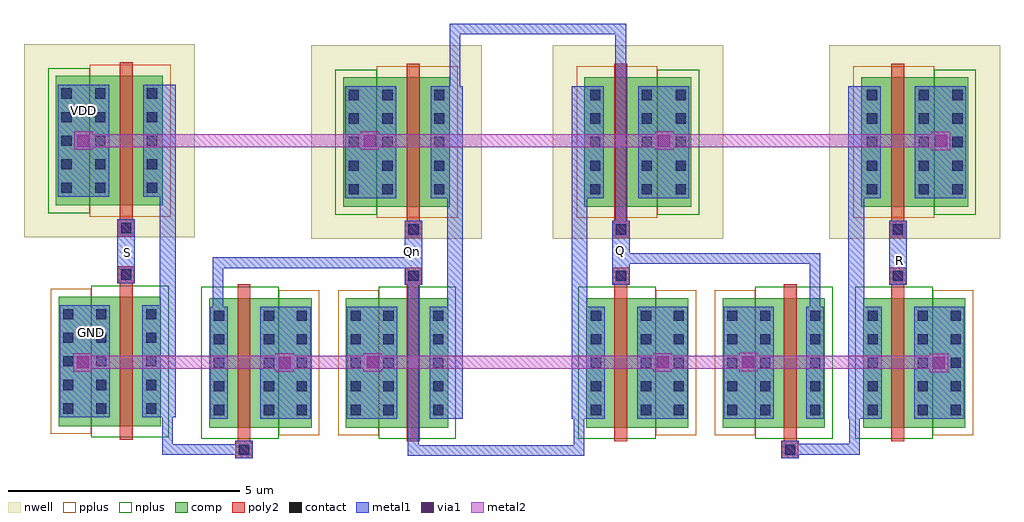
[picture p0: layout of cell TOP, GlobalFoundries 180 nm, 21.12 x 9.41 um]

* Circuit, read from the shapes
.subckt TOP GND Q Qn R S VDD
XM1 n1 S GND GND nfet_03v3 w=2.8u l=0.28u
XM2 GND n1 Qn GND nfet_03v3 w=2.8u l=0.28u
XM3 Q Qn GND GND nfet_03v3 w=2.8u l=0.28u
XM4 GND Q Qn GND nfet_03v3 w=2.8u l=0.28u
XM5 Q n2 GND GND nfet_03v3 w=2.8u l=0.28u
XM6 GND R n2 GND nfet_03v3 w=2.8u l=0.28u
XM7 n1 S VDD VDD pfet_03v3 w=2.8u l=0.28u
XM8 Q Qn VDD VDD pfet_03v3 w=2.8u l=0.28u
XM9 VDD Q Qn VDD pfet_03v3 w=2.8u l=0.28u
XM10 VDD R n2 VDD pfet_03v3 w=2.8u l=0.28u
.ends

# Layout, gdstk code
import gdstk
lib = gdstk.Library(unit=1e-6, precision=5e-09)
def R(c, l, rs):  # rectangles x0, y0, x1, y1
    for r in rs: c.add(gdstk.rectangle(r[:2], r[2:], *l))
def A(c, l, x, y, w, h, nx, ny, dx, dy):  # array of equal rectangles
    R(c, l, [(x+i*dx, y+j*dy, x+i*dx+w, y+j*dy+h) for i in range(nx) for j in range(ny)])
nwell = (21, 0)
comp = (22, 0)
poly2 = (30, 0)
pplus = (31, 0)
nplus = (32, 0)
contact = (33, 0)
metal1 = (34, 0)
via1 = (35, 0)
metal2 = (36, 0)

top = lib.new_cell('TOP')
R(top, nwell, [(4.29,10.18,7.98,14.36), (9.51,10.18,13.2,14.36), (15.5,10.18,19.19,14.36), (-1.925,10.21,1.765,14.39)])
R(top, comp, [(2.085,6.095,2.505,8.895), (2.505,6.095,3.165,8.895), (3.165,6.095,3.585,8.895), (3.585,6.095,4.295,8.895), (5.04,6.095,5.75,8.895), (5.75,6.095,6.17,8.895), (6.17,6.095,6.83,8.895), (6.83,6.095,7.25,8.895), (10.24,6.095,10.66,8.895), (10.66,6.095,11.32,8.895), (11.32,6.095,11.74,8.895), (11.74,6.095,12.45,8.895), (13.19,6.095,13.9,8.895), (13.9,6.095,14.32,8.895), (14.32,6.095,14.98,8.895), (14.98,6.095,15.4,8.895), (16.23,6.095,16.65,8.895), (16.65,6.095,17.31,8.895), (17.31,6.095,17.73,8.895), (17.73,6.095,18.44,8.895), (-1.175,6.125,-0.465,8.925), (-0.465,6.125,-0.045,8.925), (-0.045,6.125,0.615,8.925), (0.615,6.125,1.035,8.925), (4.98,10.87,5.71,13.67), (5.71,10.87,6.17,13.67), (6.17,10.87,6.83,13.67), (6.83,10.87,7.29,13.67), (10.2,10.87,10.66,13.67), (10.66,10.87,11.32,13.67), (11.32,10.87,11.78,13.67), (11.78,10.87,12.51,13.67), (16.19,10.87,16.65,13.67), (16.65,10.87,17.31,13.67), (17.31,10.87,17.77,13.67), (17.77,10.87,18.5,13.67), (-1.235,10.9,-0.505,13.7), (-0.505,10.9,-0.045,13.7), (-0.045,10.9,0.615,13.7), (0.615,10.9,1.075,13.7)])
R(top, poly2, [(2.655,5.435,3.015,5.795), (14.47,5.435,14.83,5.795), (2.695,5.795,2.975,9.195), (6.36,5.795,6.64,9.195), (10.85,5.795,11.13,9.195), (14.51,5.795,14.79,9.195), (16.84,5.795,17.12,9.195), (0.145,5.825,0.425,9.225), (6.32,9.195,6.68,9.555), (10.81,9.195,11.17,9.555), (16.8,9.195,17.16,9.555), (0.105,9.225,0.465,9.585), (6.31,10.19,6.69,10.57), (10.8,10.19,11.18,10.57), (16.79,10.19,17.17,10.57), (0.095,10.22,0.475,10.6), (6.36,10.57,6.64,13.97), (10.85,10.57,11.13,13.97), (16.84,10.57,17.12,13.97), (0.145,10.6,0.425,14)])
R(top, pplus, [(3.585,5.925,4.465,9.065), (4.87,5.925,5.75,9.065), (11.74,5.925,12.62,9.065), (13.02,5.925,13.9,9.065), (17.73,5.925,18.61,9.065), (-1.345,5.955,-0.465,9.095), (5.71,10.63,7.46,13.91), (10.03,10.63,11.78,13.91), (16.02,10.63,17.77,13.91), (-0.505,10.66,1.245,13.94)])
R(top, nplus, [(1.915,5.855,3.585,9.135), (5.75,5.855,7.42,9.135), (10.07,5.855,11.74,9.135), (13.9,5.855,15.57,9.135), (16.06,5.855,17.73,9.135), (-0.465,5.885,1.205,9.165), (4.81,10.7,5.71,13.84), (11.78,10.7,12.68,13.84), (17.77,10.7,18.67,13.84), (-1.405,10.73,-0.505,13.87)])
A(top, contact, 2.185, 6.365, 0.22, 0.22, 1, 5, 0, 0.51)
A(top, contact, 3.265, 6.365, 0.22, 0.22, 1, 5, 0, 0.51)
A(top, contact, 3.975, 6.365, 0.22, 0.22, 1, 5, 0, 0.51)
A(top, contact, 5.14, 6.365, 0.22, 0.22, 1, 5, 0, 0.51)
A(top, contact, 5.85, 6.365, 0.22, 0.22, 1, 5, 0, 0.51)
A(top, contact, 6.93, 6.365, 0.22, 0.22, 1, 5, 0, 0.51)
A(top, contact, 10.34, 6.365, 0.22, 0.22, 1, 5, 0, 0.51)
A(top, contact, 11.42, 6.365, 0.22, 0.22, 1, 5, 0, 0.51)
A(top, contact, 12.13, 6.365, 0.22, 0.22, 1, 5, 0, 0.51)
A(top, contact, 13.29, 6.365, 0.22, 0.22, 1, 5, 0, 0.51)
A(top, contact, 14, 6.365, 0.22, 0.22, 1, 5, 0, 0.51)
A(top, contact, 15.08, 6.365, 0.22, 0.22, 1, 5, 0, 0.51)
A(top, contact, 16.33, 6.365, 0.22, 0.22, 1, 5, 0, 0.51)
A(top, contact, 17.41, 6.365, 0.22, 0.22, 1, 5, 0, 0.51)
A(top, contact, 18.12, 6.365, 0.22, 0.22, 1, 5, 0, 0.51)
A(top, contact, -1.075, 6.395, 0.22, 0.22, 1, 5, 0, 0.51)
A(top, contact, -0.365, 6.395, 0.22, 0.22, 1, 5, 0, 0.51)
A(top, contact, 0.715, 6.395, 0.22, 0.22, 1, 5, 0, 0.51)
A(top, contact, 5.1, 11.14, 0.22, 0.22, 1, 5, 0, 0.51)
A(top, contact, 5.83, 11.14, 0.22, 0.22, 1, 5, 0, 0.51)
A(top, contact, 6.95, 11.14, 0.22, 0.22, 1, 5, 0, 0.51)
A(top, contact, 10.32, 11.14, 0.22, 0.22, 1, 5, 0, 0.51)
A(top, contact, 11.44, 11.14, 0.22, 0.22, 1, 5, 0, 0.51)
A(top, contact, 12.17, 11.14, 0.22, 0.22, 1, 5, 0, 0.51)
A(top, contact, 16.31, 11.14, 0.22, 0.22, 1, 5, 0, 0.51)
A(top, contact, 17.43, 11.14, 0.22, 0.22, 1, 5, 0, 0.51)
A(top, contact, 18.16, 11.14, 0.22, 0.22, 1, 5, 0, 0.51)
A(top, contact, -1.115, 11.17, 0.22, 0.22, 1, 5, 0, 0.51)
A(top, contact, -0.385, 11.17, 0.22, 0.22, 1, 5, 0, 0.51)
A(top, contact, 0.735, 11.17, 0.22, 0.22, 1, 5, 0, 0.51)
R(top, contact, [(2.725,5.505,2.945,5.725), (14.54,5.505,14.76,5.725), (6.39,9.265,6.61,9.485), (10.88,9.265,11.1,9.485), (16.87,9.265,17.09,9.485), (0.175,9.295,0.395,9.515), (6.39,10.27,6.61,10.49), (10.88,10.27,11.1,10.49), (16.87,10.27,17.09,10.49), (0.175,10.3,0.395,10.52)])
R(top, metal1, [(2.645,5.425,3.025,5.805), (14.46,5.425,14.84,5.805), (2.105,6.285,2.485,8.705), (3.185,6.285,4.275,8.705), (3.185,6.285,3.565,8.705), (3.895,6.285,4.275,8.705), (5.06,6.285,6.15,8.705), (5.06,6.285,5.44,8.705), (5.77,6.285,6.15,8.705), (6.85,6.285,7.23,8.705), (7.23,6.285,7.57,13.48), (9.92,6.285,10.26,13.48), (10.26,6.285,10.64,8.705), (11.34,6.285,12.43,8.705), (11.34,6.285,11.72,8.705), (12.05,6.285,12.43,8.705), (13.21,6.285,14.3,8.705), (13.21,6.285,13.59,8.705), (13.92,6.285,14.3,8.705), (15,6.285,15.38,8.705), (15.91,6.285,16.25,13.48), (16.25,6.285,16.63,8.705), (17.33,6.285,18.42,8.705), (17.33,6.285,17.71,8.705), (18.04,6.285,18.42,8.705), (-1.155,6.315,-0.065,8.735), (-1.155,6.315,-0.775,8.735), (-0.445,6.315,-0.065,8.735), (0.635,6.315,1.015,8.735), (1.015,6.315,1.355,13.51), (17.67,7.295,18.07,7.695), (3.515,7.3,3.915,7.7), (-0.855,7.305,-0.455,7.705), (5.415,7.305,5.815,7.705), (11.69,7.305,12.09,7.705), (13.545,7.31,13.945,7.71), (6.31,9.185,6.69,10.57), (6.31,9.185,6.69,9.565), (10.8,9.185,11.18,10.57), (10.8,9.185,11.18,9.565), (16.79,9.185,17.17,10.57), (16.79,9.185,17.17,9.565), (0.095,9.215,0.475,10.6), (0.095,9.215,0.475,9.595), (6.31,10.19,6.69,10.57), (10.8,10.19,11.18,10.57), (16.79,10.19,17.17,10.57), (0.095,10.22,0.475,10.6), (5.02,11.055,6.13,13.475), (5.02,11.06,5.4,13.48), (5.75,11.06,6.13,13.48), (6.87,11.06,7.25,13.48), (10.24,11.06,10.62,13.48), (11.36,11.06,12.47,13.48), (11.36,11.06,11.74,13.48), (12.09,11.06,12.47,13.48), (16.23,11.06,16.61,13.48), (17.35,11.06,18.46,13.48), (17.35,11.06,17.73,13.48), (18.08,11.06,18.46,13.48), (-1.195,11.085,-0.085,13.505), (-1.195,11.09,-0.815,13.51), (-0.465,11.09,-0.085,13.51), (0.655,11.09,1.035,13.51), (17.715,12.095,18.115,12.495), (-0.84,12.1,-0.44,12.5), (5.355,12.1,5.755,12.5), (11.73,12.1,12.13,12.5)])
R(top, via1, [(17.74,7.365,18,7.625), (3.585,7.37,3.845,7.63), (-0.785,7.375,-0.525,7.635), (5.485,7.375,5.745,7.635), (11.76,7.375,12.02,7.635), (13.615,7.38,13.875,7.64), (17.785,12.165,18.045,12.425), (-0.77,12.17,-0.51,12.43), (5.425,12.17,5.685,12.43), (11.8,12.17,12.06,12.43)])
R(top, metal2, [(17.67,7.295,18.07,7.695), (3.515,7.3,3.915,7.7), (-0.855,7.305,-0.455,7.705), (5.415,7.305,5.815,7.705), (11.69,7.305,12.09,7.705), (13.545,7.31,13.945,7.71), (17.715,12.095,18.115,12.495), (-0.84,12.1,-0.44,12.5), (5.355,12.1,5.755,12.5), (11.73,12.1,12.13,12.5)])
top.add(gdstk.FlexPath([(10.985,10.495),(10.985,14.72),(7.4,14.72),(7.4,13.37)], 0.23, ends="flush", simple_path=True, layer=34, datatype=0))  # metal1
top.add(gdstk.FlexPath([(6.495,9.31),(6.495,5.6),(10.08,5.6),(10.08,6.555)], 0.23, ends="flush", simple_path=True, layer=34, datatype=0))  # metal1
top.add(gdstk.FlexPath([(15.19,8.62),(15.19,9.755),(11.13,9.755)], 0.23, ends="flush", simple_path=True, layer=34, datatype=0))  # metal1
top.add(gdstk.FlexPath([(2.275,8.65),(2.275,9.66),(6.375,9.66)], 0.23, ends="flush", simple_path=True, layer=34, datatype=0))  # metal1
top.add(gdstk.FlexPath([(14.65,5.625),(16.04,5.625),(16.04,6.49)], 0.23, ends="flush", simple_path=True, layer=34, datatype=0))  # metal1
top.add(gdstk.FlexPath([(2.815,5.62),(1.18,5.62),(1.18,6.69)], 0.23, ends="flush", simple_path=True, layer=34, datatype=0))  # metal1
top.add(gdstk.FlexPath([(-0.74,7.505),(18,7.505)], 0.28, ends="flush", simple_path=True, layer=36, datatype=0))  # metal2
top.add(gdstk.FlexPath([(-0.73,12.3),(17.92,12.3)], 0.28, ends="flush", simple_path=True, layer=36, datatype=0))  # metal2
top.add(gdstk.Label('S', (0.305,9.875), layer=34, texttype=10))
top.add(gdstk.Label('R', (17.02,9.705), layer=34, texttype=10))
top.add(gdstk.Label('VDD', (-0.64,12.96), layer=34, texttype=10))
top.add(gdstk.Label('GND', (-0.455,8.15), layer=34, texttype=10))
top.add(gdstk.Label('Qn', (6.48,9.9), layer=34, texttype=10))
top.add(gdstk.Label('Q', (10.99,9.925), layer=34, texttype=10))

lib.write_gds('TOP.gds')
